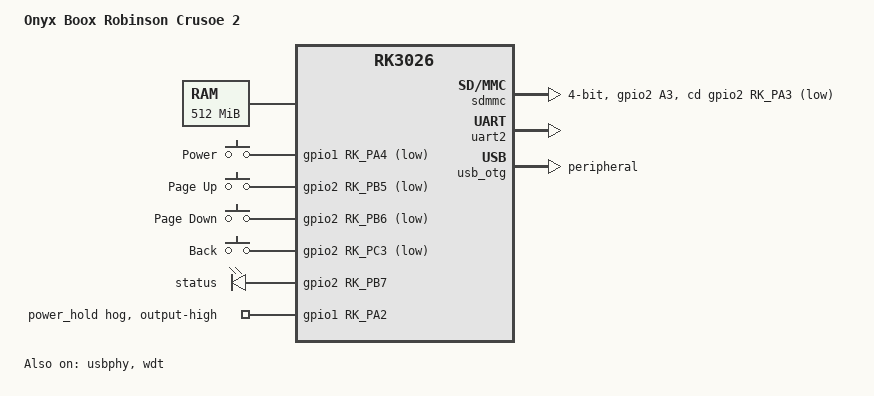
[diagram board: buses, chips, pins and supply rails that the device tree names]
// SPDX-License-Identifier: (GPL-2.0+ OR MIT)
/*
 * ONYX BOOX Robinson Crusoe 2 (MC_Kepler_R2, pcb V1.73), RK3026, 512 MiB DDR3.
 * U-Boot copy of the RC2 kernel DTS (rk3026-onyx-rc2.dts, Mario's v7.1.13
 * tree with our patches), adapted to this tree's rk3026.dtsi.
 *
 * Storage rule: the eMMC (0x1021c000), the NAND controller (0x10500000,
 * whose pads are the eMMC data lines on this board) and SDIO are deleted,
 * so the microSD slot is the only block device U-Boot can see.
 * Power rule: no PMIC is described (i2c buses stay disabled); the
 * regulators are not described either (no regulator driver is built).
 */

/dts-v1/;
#include "rk3026.dtsi"
#include <dt-bindings/input/input.h>

/delete-node/ &emmc;
/delete-node/ &nfc;
/delete-node/ &sdio;

/ {
	model = "Onyx Boox Robinson Crusoe 2";
	compatible = "onyx,rc2", "rockchip,rk3026";

	aliases {
		mmc0 = &sdmmc;
	};

	chosen {
		stdout-path = "serial2:115200n8";
	};

	memory@60000000 {
		device_type = "memory";
		reg = <0x60000000 0x20000000>; /* 512 MiB */
	};

	/*
	 * Top 1 MiB as in the kernel DTS: waveform, ramoops, loader log (stage2
	 * log 0x7fff0000, A/B flag 0x7fff3000, previous log 0x7fff4000, U-Boot
	 * bootcount and requests 0x7fff6000). U-Boot also caps its own RAM top
	 * at 0x7ff00000 (board_get_usable_ram_top).
	 */
	reserved-memory {
		#address-cells = <1>;
		#size-cells = <1>;
		ranges;

		waveform@7ff00000 {
			reg = <0x7ff00000 0x40000>;
			no-map;
		};

		ramoops@7ff40000 {
			compatible = "ramoops";
			reg = <0x7ff40000 0x80000>;
			console-size = <0x40000>;
			record-size = <0x20000>;
		};

		loader-log@7ffc0000 {
			reg = <0x7ffc0000 0x40000>;
			no-map;
		};
	};

	/* described for completeness; no GPIO/button driver is built */
	gpio-keys {
		compatible = "gpio-keys";

		key-power {
			label = "Power";
			gpios = <&gpio1 RK_PA4 GPIO_ACTIVE_LOW>;
			linux,code = <KEY_POWER>;
		};

		key-pageup {
			label = "Page Up";
			gpios = <&gpio2 RK_PB5 GPIO_ACTIVE_LOW>;
			linux,code = <KEY_PAGEUP>;
		};

		key-pagedown {
			label = "Page Down";
			gpios = <&gpio2 RK_PB6 GPIO_ACTIVE_LOW>;
			linux,code = <KEY_PAGEDOWN>;
		};

		key-back {
			label = "Back";
			gpios = <&gpio2 RK_PC3 GPIO_ACTIVE_LOW>;
			linux,code = <KEY_BACK>;
		};
	};

	/* the board code drives GPIO2_B7 directly (onyx-rc2.c) */
	leds {
		compatible = "gpio-leds";

		led-0 {
			label = "status";
			gpios = <&gpio2 RK_PB7 GPIO_ACTIVE_HIGH>;
		};
	};
};

&gpio1 {
	/* power hold: stage2 drives it high, board_early_init_f again */
	power-hold-hog {
		gpio-hog;
		gpios = <RK_PA2 GPIO_ACTIVE_HIGH>;
		output-high;
		line-name = "power_hold";
	};
};

&pinctrl {
	sdmmc {
		/* on eMMC boards the card detect is GPIO2_A3, not GPIO1_C1 */
		sdmmc_cd_gpio: sdmmc-cd-gpio {
			rockchip,pins = <2 RK_PA3 RK_FUNC_GPIO &pcfg_pull_default>;
		};
	};
};

&sdmmc {
	bus-width = <4>;
	cap-sd-highspeed;
	max-frequency = <25000000>;
	cd-gpios = <&gpio2 RK_PA3 GPIO_ACTIVE_LOW>;
	disable-wp;
	fifo-mode;
	pinctrl-names = "default";
	pinctrl-0 = <&sdmmc_clk &sdmmc_cmd &sdmmc_bus4 &sdmmc_cd_gpio>;
	status = "okay";
};

/*
 * UART2 sits on GPIO2_C6/C7, the EBC border pins on this board, with no
 * connector: the block is enabled as the "serial" console device but its
 * pins are never muxed. The console is the USB CDC-ACM gadget.
 */
&uart2 {
	/delete-property/ pinctrl-names;
	/delete-property/ pinctrl-0;
	status = "okay";
};

&usbphy {
	status = "okay";
};

&usb_otg {
	dr_mode = "peripheral";
	status = "okay";
};

&wdt {
	status = "okay";
};
